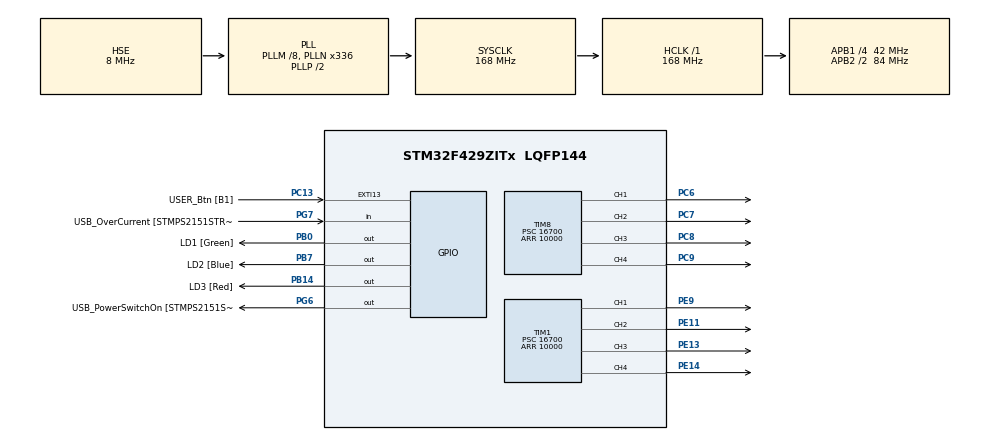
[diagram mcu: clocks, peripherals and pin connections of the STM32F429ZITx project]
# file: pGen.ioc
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Dma.Request0=TIM1_UP
Dma.Request1=TIM8_UP
Dma.TIM1_UP.0.Direction=DMA_MEMORY_TO_PERIPH
Dma.TIM1_UP.0.FIFOMode=DMA_FIFOMODE_ENABLE
Dma.TIM1_UP.0.FIFOThreshold=DMA_FIFO_THRESHOLD_FULL
Dma.TIM1_UP.0.Instance=DMA2_Stream5
Dma.TIM1_UP.0.MemBurst=DMA_MBURST_SINGLE
Dma.TIM1_UP.0.MemDataAlignment=DMA_MDATAALIGN_HALFWORD
Dma.TIM1_UP.0.MemInc=DMA_MINC_ENABLE
Dma.TIM1_UP.0.Mode=DMA_CIRCULAR
Dma.TIM1_UP.0.PeriphBurst=DMA_PBURST_SINGLE
Dma.TIM1_UP.0.PeriphDataAlignment=DMA_PDATAALIGN_HALFWORD
Dma.TIM1_UP.0.PeriphInc=DMA_PINC_DISABLE
Dma.TIM1_UP.0.Priority=DMA_PRIORITY_MEDIUM
Dma.TIM8_UP.1.Direction=DMA_MEMORY_TO_PERIPH
Dma.TIM8_UP.1.FIFOMode=DMA_FIFOMODE_ENABLE
Dma.TIM8_UP.1.FIFOThreshold=DMA_FIFO_THRESHOLD_FULL
Dma.TIM8_UP.1.Instance=DMA2_Stream1
Dma.TIM8_UP.1.MemBurst=DMA_MBURST_SINGLE
Dma.TIM8_UP.1.MemDataAlignment=DMA_MDATAALIGN_HALFWORD
Dma.TIM8_UP.1.MemInc=DMA_MINC_ENABLE
Dma.TIM8_UP.1.Mode=DMA_CIRCULAR
Dma.TIM8_UP.1.PeriphBurst=DMA_PBURST_SINGLE
Dma.TIM8_UP.1.PeriphDataAlignment=DMA_PDATAALIGN_HALFWORD
Dma.TIM8_UP.1.PeriphInc=DMA_PINC_DISABLE
Dma.TIM8_UP.1.Priority=DMA_PRIORITY_LOW
Mcu.Family=STM32F4
Mcu.Name=STM32F429ZITx
Mcu.Package=LQFP144
NVIC.DMA2_Stream1_IRQn=true\:0\:0\:false\:false\:true\:false\:true
NVIC.DMA2_Stream5_IRQn=true\:0\:0\:false\:false\:true\:false\:true
NVIC.PriorityGroup=NVIC_PRIORITYGROUP_4
PA1.GPIO_Label=RMII_REF_CLK [LAN8742A-CZ-TR_REFCLK0]
PA1.Signal=ETH_REF_CLK
PA10.GPIO_Label=USB_ID
PA10.Signal=USB_OTG_FS_ID
PA11.GPIO_Label=USB_DM
PA11.Signal=USB_OTG_FS_DM
PA12.GPIO_Label=USB_DP
PA12.Signal=USB_OTG_FS_DP
PA13.GPIO_Label=TMS
PA13.Mode=Serial_Wire
PA13.Signal=SYS_JTMS-SWDIO
PA14.GPIO_Label=TCK
PA14.Mode=Serial_Wire
PA14.Signal=SYS_JTCK-SWCLK
PA2.GPIO_Label=RMII_MDIO [LAN8742A-CZ-TR_MDIO]
PA2.Signal=ETH_MDIO
PA7.GPIO_Label=RMII_CRS_DV [LAN8742A-CZ-TR_CRS_DV]
PA7.Signal=ETH_CRS_DV
PA8.GPIO_Label=USB_SOF [TP1]
PA8.Signal=USB_OTG_FS_SOF
PA9.GPIO_Label=USB_VBUS
PA9.Signal=USB_OTG_FS_VBUS
PB0.GPIO_Label=LD1 [Green]
PB0.Signal=GPIO_Output
PB13.GPIO_Label=RMII_TXD1 [LAN8742A-CZ-TR_TXD1]
PB13.Signal=ETH_TXD1
PB14.GPIO_Label=LD3 [Red]
PB14.Signal=GPIO_Output
PB7.GPIO_Label=LD2 [Blue]
PB7.Signal=GPIO_Output
PC1.GPIO_Label=RMII_MDC [LAN8742A-CZ-TR_MDC]
PC1.Signal=ETH_MDC
PC13.GPIO_Label=USER_Btn [B1]
PC13.Signal=GPXTI13
PC14/OSC32_IN.Signal=RCC_OSC32_IN
PC15/OSC32_OUT.Signal=RCC_OSC32_OUT
PC4.GPIO_Label=RMII_RXD0 [LAN8742A-CZ-TR_RXD0]
PC4.Signal=ETH_RXD0
PC5.GPIO_Label=RMII_RXD1 [LAN8742A-CZ-TR_RXD1]
PC5.Signal=ETH_RXD1
PC6.GPIO_ModeDefaultPP=GPIO_MODE_AF_OD
PC6.GPIO_PuPd=GPIO_PULLUP
PC6.GPIO_Speed=GPIO_SPEED_FREQ_VERY_HIGH
PC6.Signal=S_TIM8_CH1
PC7.GPIO_ModeDefaultPP=GPIO_MODE_AF_OD
PC7.GPIO_PuPd=GPIO_PULLUP
PC7.GPIO_Speed=GPIO_SPEED_FREQ_VERY_HIGH
PC7.Signal=S_TIM8_CH2
PC8.GPIO_ModeDefaultPP=GPIO_MODE_AF_OD
PC8.GPIO_PuPd=GPIO_PULLUP
PC8.GPIO_Speed=GPIO_SPEED_FREQ_VERY_HIGH
PC8.Signal=S_TIM8_CH3
PC9.GPIO_ModeDefaultPP=GPIO_MODE_AF_OD
PC9.GPIO_PuPd=GPIO_PULLUP
PC9.GPIO_Speed=GPIO_SPEED_FREQ_VERY_HIGH
PC9.Signal=S_TIM8_CH4
PD8.GPIO_Label=STLK_RX [STM32F103CBT6_PA3]
PD8.Signal=USART3_TX
PD9.GPIO_Label=STLK_TX [STM32F103CBT6_PA2]
PD9.Signal=USART3_RX
PE11.GPIO_ModeDefaultPP=GPIO_MODE_AF_OD
PE11.GPIO_PuPd=GPIO_PULLUP
PE11.GPIO_Speed=GPIO_SPEED_FREQ_VERY_HIGH
PE11.Signal=S_TIM1_CH2
PE13.GPIO_ModeDefaultPP=GPIO_MODE_AF_OD
PE13.GPIO_PuPd=GPIO_PULLUP
PE13.GPIO_Speed=GPIO_SPEED_FREQ_VERY_HIGH
PE13.Signal=S_TIM1_CH3
PE14.GPIO_ModeDefaultPP=GPIO_MODE_AF_OD
PE14.GPIO_PuPd=GPIO_PULLUP
PE14.GPIO_Speed=GPIO_SPEED_FREQ_VERY_HIGH
PE14.Signal=S_TIM1_CH4
PE9.GPIO_ModeDefaultPP=GPIO_MODE_AF_OD
PE9.GPIO_PuPd=GPIO_PULLUP
PE9.GPIO_Speed=GPIO_SPEED_FREQ_VERY_HIGH
PE9.Signal=S_TIM1_CH1
PG11.GPIO_Label=RMII_TX_EN [LAN8742A-CZ-TR_TXEN]
PG11.Signal=ETH_TX_EN
PG13.GPIO_Label=RMII_TXD0 [LAN8742A-CZ-TR_TXD0]
PG13.Signal=ETH_TXD0
PG6.GPIO_Label=USB_PowerSwitchOn [STMPS2151STR_EN]
PG6.Signal=GPIO_Output
PG7.GPIO_Label=USB_OverCurrent [STMPS2151STR_FAULT]
PG7.Signal=GPIO_Input
PH0/OSC_IN.GPIO_Label=MCO [STM32F103CBT6_PA8]
PH0/OSC_IN.Mode=HSE-External-Oscillator
PH0/OSC_IN.Signal=RCC_OSC_IN
PH1/OSC_OUT.Mode=HSE-External-Oscillator
PH1/OSC_OUT.Signal=RCC_OSC_OUT
ProjectManager.HeapSize=0x2000
ProjectManager.StackSize=0x4000
ProjectManager.TargetToolchain=MDK-ARM V5.27
RCC.48MHZClocksFreq_Value=48000000
RCC.AHBFreq_Value=168000000
RCC.APB1CLKDivider=RCC_HCLK_DIV4
RCC.APB1Freq_Value=42000000
RCC.APB1TimFreq_Value=84000000
RCC.APB2CLKDivider=RCC_HCLK_DIV2
RCC.APB2Freq_Value=84000000
RCC.APB2TimFreq_Value=168000000
RCC.CortexFreq_Value=168000000
RCC.HCLKFreq_Value=168000000
RCC.HSE_VALUE=8000000
RCC.HSI_VALUE=16000000
RCC.LSE_VALUE=32768
RCC.PLLM=8
RCC.PLLMUL=RCC_PLL_MUL9
RCC.PLLN=336
RCC.PLLQ=7
RCC.PLLSourceVirtual=RCC_PLLSOURCE_HSE
RCC.PRESCALERUSB=RCC_USBCLKSOURCE_PLL_DIV1_5
RCC.SYSCLKFreq_VALUE=168000000
RCC.SYSCLKSource=RCC_SYSCLKSOURCE_PLLCLK
RCC.SYSCLKSourceVirtual=RCC_SYSCLKSOURCE_PLLCLK
RCC.USBFreq_Value=48000000
RCC.VCOOutputFreq_Value=336000000
SH.S_TIM1_CH1.0=TIM1_CH1,PWM Generation1 CH1
SH.S_TIM1_CH2.0=TIM1_CH2,PWM Generation2 CH2
SH.S_TIM1_CH3.0=TIM1_CH3,PWM Generation3 CH3
SH.S_TIM1_CH4.0=TIM1_CH4,PWM Generation4 CH4
SH.S_TIM8_CH1.0=TIM8_CH1,PWM Generation1 CH1
SH.S_TIM8_CH2.0=TIM8_CH2,PWM Generation2 CH2
SH.S_TIM8_CH3.0=TIM8_CH3,PWM Generation3 CH3
SH.S_TIM8_CH4.0=TIM8_CH4,PWM Generation4 CH4
TIM1.Channel-PWM\ Generation1\ CH1=TIM_CHANNEL_1
TIM1.Channel-PWM\ Generation2\ CH2=TIM_CHANNEL_2
TIM1.Channel-PWM\ Generation3\ CH3=TIM_CHANNEL_3
TIM1.Channel-PWM\ Generation4\ CH4=TIM_CHANNEL_4
TIM1.OCIdleState_1=TIM_OCIDLESTATE_SET
TIM1.OCPolarity_1=TIM_OCPOLARITY_HIGH
TIM1.OCPolarity_2=TIM_OCPOLARITY_HIGH
TIM1.OCPolarity_3=TIM_OCPOLARITY_HIGH
TIM1.OCPolarity_4=TIM_OCPOLARITY_HIGH
TIM1.Period=10000
TIM1.Prescaler=16700
TIM1.Pulse-PWM\ Generation1\ CH1=1
TIM1.Pulse-PWM\ Generation2\ CH2=1
TIM1.Pulse-PWM\ Generation3\ CH3=1
TIM1.Pulse-PWM\ Generation4\ CH4=1
TIM1.TIM_MasterOutputTrigger=TIM_TRGO_ENABLE
TIM1.TIM_MasterSlaveMode=TIM_MASTERSLAVEMODE_ENABLE
TIM8.Channel-PWM\ Generation1\ CH1=TIM_CHANNEL_1
TIM8.Channel-PWM\ Generation2\ CH2=TIM_CHANNEL_2
TIM8.Channel-PWM\ Generation3\ CH3=TIM_CHANNEL_3
TIM8.Channel-PWM\ Generation4\ CH4=TIM_CHANNEL_4
TIM8.OCPolarity_1=TIM_OCPOLARITY_HIGH
TIM8.OCPolarity_2=TIM_OCPOLARITY_HIGH
TIM8.OCPolarity_3=TIM_OCPOLARITY_HIGH
TIM8.OCPolarity_4=TIM_OCPOLARITY_HIGH
TIM8.Period=10000
TIM8.Prescaler=16700
TIM8.Pulse-PWM\ Generation1\ CH1=1
TIM8.Pulse-PWM\ Generation2\ CH2=1
TIM8.Pulse-PWM\ Generation3\ CH3=1
TIM8.Pulse-PWM\ Generation4\ CH4=1
VP_TIM1_VS_OPM.Mode=OPM_bit
VP_TIM8_VS_ClockSourceITR.Mode=TriggerSource_ITR0
VP_TIM8_VS_ControllerModeTrigger.Mode=Trigger Mode
VP_TIM8_VS_OPM.Mode=OPM_bit
board=NUCLEO-F429ZI

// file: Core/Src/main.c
/* USER CODE BEGIN Header */
/**
  ******************************************************************************
  * @file           : main.c
  * @brief          : Main program body
  ******************************************************************************
  * @attention
  *
  * <h2><center>&copy; Copyright (c) 2021 STMicroelectronics.
  * All rights reserved.</center></h2>
  *
  * This software component is licensed by ST under BSD 3-Clause license,
  * the "License"; You may not use this file except in compliance with the
  * License. You may obtain a copy of the License at:
  *                        opensource.org/licenses/BSD-3-Clause
  *
  ******************************************************************************
  */
/* USER CODE END Header */
#include "main.h"

/* USER CODE BEGIN Includes */
#include "proc.h"
#include "console.h"
/* USER CODE END Includes */

TIM_HandleTypeDef htim1;
TIM_HandleTypeDef htim8;
DMA_HandleTypeDef hdma_tim1_up;
DMA_HandleTypeDef hdma_tim8_up;

void SystemClock_Config(void);
static void MX_GPIO_Init(void);
static void MX_DMA_Init(void);
static void MX_TIM1_Init(void);
static void MX_TIM8_Init(void);
/* USER CODE BEGIN PFP */
void	HAL_USBD_Setup(void);
void	UsbDevice_Init(void);
void	UsbDevice_DeInit(void);

/* USER CODE END PFP */

/* USER CODE BEGIN 0 */
uint16_t tim1buf[]={2000,6000,4000,2000};
uint16_t tim8buf[]={8000,6000,4000,2000};
/* USER CODE END 0 */

int main(void)
{

  /* MCU Configuration--------------------------------------------------------*/

  /* Reset of all peripherals, Initializes the Flash interface and the Systick. */
  HAL_Init();

  /* Configure the system clock */
  SystemClock_Config();

  /* Initialize all configured peripherals */
  MX_GPIO_Init();
  MX_DMA_Init();
  MX_TIM1_Init();
  MX_TIM8_Init();
  /* USER CODE BEGIN 2 */
  HAL_USBD_Setup();
  UsbDevice_Init();

	InitITM();
	_stdio(&_ITM);
	printVersion();
	_stdio(NULL);

	_proc_add(console,&_VCP,"console",0);

	HAL_TIM_PWM_Start(&htim8,TIM_CHANNEL_1);
	HAL_TIM_PWM_Start(&htim8,TIM_CHANNEL_2);
	HAL_TIM_PWM_Start(&htim8,TIM_CHANNEL_3);
	HAL_TIM_PWM_Start(&htim8,TIM_CHANNEL_4);
	HAL_TIM_PWM_Start(&htim1,TIM_CHANNEL_1);
	HAL_TIM_PWM_Start(&htim1,TIM_CHANNEL_2);
	HAL_TIM_PWM_Start(&htim1,TIM_CHANNEL_3);
	HAL_TIM_PWM_Start(&htim1,TIM_CHANNEL_4);
	HAL_TIM_DMABurst_WriteStart(&htim1,TIM_DMABASE_CCR1,TIM_DMA_UPDATE,(uint32_t *)tim1buf,TIM_DMABURSTLENGTH_4TRANSFERS);
	HAL_TIM_DMABurst_WriteStart(&htim8,TIM_DMABASE_CCR1,TIM_DMA_UPDATE,(uint32_t *)tim8buf,TIM_DMABURSTLENGTH_4TRANSFERS);

  /* USER CODE END 2 */

  /* Infinite loop */
  while (1)
  {

    /* USER CODE BEGIN 3 */
		_proc_loop();

		HAL_GPIO_WritePin(LD1_GPIO_Port,LD1_Pin,HAL_GPIO_ReadPin(GPIOE,GPIO_PIN_9));
		HAL_GPIO_WritePin(LD2_GPIO_Port,LD2_Pin,HAL_GPIO_ReadPin(GPIOE,GPIO_PIN_11));
		HAL_GPIO_WritePin(LD3_GPIO_Port,LD3_Pin,HAL_GPIO_ReadPin(GPIOC,GPIO_PIN_6));

  }
  /* USER CODE END 3 */
}

void SystemClock_Config(void)
{
  RCC_OscInitTypeDef RCC_OscInitStruct = {0};
  RCC_ClkInitTypeDef RCC_ClkInitStruct = {0};

  /** Configure the main internal regulator output voltage
  */
  __HAL_RCC_PWR_CLK_ENABLE();
  __HAL_PWR_VOLTAGESCALING_CONFIG(PWR_REGULATOR_VOLTAGE_SCALE1);
  /** Initializes the RCC Oscillators according to the specified parameters
  * in the RCC_OscInitTypeDef structure.
  */
  RCC_OscInitStruct.OscillatorType = RCC_OSCILLATORTYPE_HSE;
  RCC_OscInitStruct.HSEState = RCC_HSE_ON;
  RCC_OscInitStruct.PLL.PLLState = RCC_PLL_ON;
  RCC_OscInitStruct.PLL.PLLSource = RCC_PLLSOURCE_HSE;
  RCC_OscInitStruct.PLL.PLLM = 8;
  RCC_OscInitStruct.PLL.PLLN = 336;
  RCC_OscInitStruct.PLL.PLLP = RCC_PLLP_DIV2;
  RCC_OscInitStruct.PLL.PLLQ = 7;
  if (HAL_RCC_OscConfig(&RCC_OscInitStruct) != HAL_OK)
  {
    Error_Handler();
  }
  /** Initializes the CPU, AHB and APB buses clocks
  */
  RCC_ClkInitStruct.ClockType = RCC_CLOCKTYPE_HCLK|RCC_CLOCKTYPE_SYSCLK
                              |RCC_CLOCKTYPE_PCLK1|RCC_CLOCKTYPE_PCLK2;
  RCC_ClkInitStruct.SYSCLKSource = RCC_SYSCLKSOURCE_PLLCLK;
  RCC_ClkInitStruct.AHBCLKDivider = RCC_SYSCLK_DIV1;
  RCC_ClkInitStruct.APB1CLKDivider = RCC_HCLK_DIV4;
  RCC_ClkInitStruct.APB2CLKDivider = RCC_HCLK_DIV2;

  if (HAL_RCC_ClockConfig(&RCC_ClkInitStruct, FLASH_LATENCY_5) != HAL_OK)
  {
    Error_Handler();
  }
}

static void MX_TIM1_Init(void)
{

  TIM_MasterConfigTypeDef sMasterConfig = {0};
  TIM_OC_InitTypeDef sConfigOC = {0};
  TIM_BreakDeadTimeConfigTypeDef sBreakDeadTimeConfig = {0};

  htim1.Instance = TIM1;
  htim1.Init.Prescaler = 16700;
  htim1.Init.CounterMode = TIM_COUNTERMODE_UP;
  htim1.Init.Period = 10000;
  htim1.Init.ClockDivision = TIM_CLOCKDIVISION_DIV1;
  htim1.Init.RepetitionCounter = 0;
  htim1.Init.AutoReloadPreload = TIM_AUTORELOAD_PRELOAD_DISABLE;
  if (HAL_TIM_PWM_Init(&htim1) != HAL_OK)
  {
    Error_Handler();
  }
  if (HAL_TIM_OnePulse_Init(&htim1, TIM_OPMODE_SINGLE) != HAL_OK)
  {
    Error_Handler();
  }
  sMasterConfig.MasterOutputTrigger = TIM_TRGO_ENABLE;
  sMasterConfig.MasterSlaveMode = TIM_MASTERSLAVEMODE_ENABLE;
  if (HAL_TIMEx_MasterConfigSynchronization(&htim1, &sMasterConfig) != HAL_OK)
  {
    Error_Handler();
  }
  sConfigOC.OCMode = TIM_OCMODE_PWM1;
  sConfigOC.Pulse = 1;
  sConfigOC.OCPolarity = TIM_OCPOLARITY_HIGH;
  sConfigOC.OCNPolarity = TIM_OCNPOLARITY_HIGH;
  sConfigOC.OCFastMode = TIM_OCFAST_DISABLE;
  sConfigOC.OCIdleState = TIM_OCIDLESTATE_SET;
  sConfigOC.OCNIdleState = TIM_OCNIDLESTATE_RESET;
  if (HAL_TIM_PWM_ConfigChannel(&htim1, &sConfigOC, TIM_CHANNEL_1) != HAL_OK)
  {
    Error_Handler();
  }
  sConfigOC.OCIdleState = TIM_OCIDLESTATE_RESET;
  if (HAL_TIM_PWM_ConfigChannel(&htim1, &sConfigOC, TIM_CHANNEL_2) != HAL_OK)
  {
    Error_Handler();
  }
  if (HAL_TIM_PWM_ConfigChannel(&htim1, &sConfigOC, TIM_CHANNEL_3) != HAL_OK)
  {
    Error_Handler();
  }
  if (HAL_TIM_PWM_ConfigChannel(&htim1, &sConfigOC, TIM_CHANNEL_4) != HAL_OK)
  {
    Error_Handler();
  }
  sBreakDeadTimeConfig.OffStateRunMode = TIM_OSSR_DISABLE;
  sBreakDeadTimeConfig.OffStateIDLEMode = TIM_OSSI_DISABLE;
  sBreakDeadTimeConfig.LockLevel = TIM_LOCKLEVEL_OFF;
  sBreakDeadTimeConfig.DeadTime = 0;
  sBreakDeadTimeConfig.BreakState = TIM_BREAK_DISABLE;
  sBreakDeadTimeConfig.BreakPolarity = TIM_BREAKPOLARITY_HIGH;
  sBreakDeadTimeConfig.AutomaticOutput = TIM_AUTOMATICOUTPUT_DISABLE;
  if (HAL_TIMEx_ConfigBreakDeadTime(&htim1, &sBreakDeadTimeConfig) != HAL_OK)
  {
    Error_Handler();
  }
  HAL_TIM_MspPostInit(&htim1);

}

static void MX_TIM8_Init(void)
{

  TIM_SlaveConfigTypeDef sSlaveConfig = {0};
  TIM_MasterConfigTypeDef sMasterConfig = {0};
  TIM_OC_InitTypeDef sConfigOC = {0};
  TIM_BreakDeadTimeConfigTypeDef sBreakDeadTimeConfig = {0};

  htim8.Instance = TIM8;
  htim8.Init.Prescaler = 16700;
  htim8.Init.CounterMode = TIM_COUNTERMODE_UP;
  htim8.Init.Period = 10000;
  htim8.Init.ClockDivision = TIM_CLOCKDIVISION_DIV1;
  htim8.Init.RepetitionCounter = 0;
  htim8.Init.AutoReloadPreload = TIM_AUTORELOAD_PRELOAD_DISABLE;
  if (HAL_TIM_Base_Init(&htim8) != HAL_OK)
  {
    Error_Handler();
  }
  if (HAL_TIM_PWM_Init(&htim8) != HAL_OK)
  {
    Error_Handler();
  }
  if (HAL_TIM_OnePulse_Init(&htim8, TIM_OPMODE_SINGLE) != HAL_OK)
  {
    Error_Handler();
  }
  sSlaveConfig.SlaveMode = TIM_SLAVEMODE_TRIGGER;
  sSlaveConfig.InputTrigger = TIM_TS_ITR0;
  if (HAL_TIM_SlaveConfigSynchro(&htim8, &sSlaveConfig) != HAL_OK)
  {
    Error_Handler();
  }
  sMasterConfig.MasterOutputTrigger = TIM_TRGO_RESET;
  sMasterConfig.MasterSlaveMode = TIM_MASTERSLAVEMODE_DISABLE;
  if (HAL_TIMEx_MasterConfigSynchronization(&htim8, &sMasterConfig) != HAL_OK)
  {
    Error_Handler();
  }
  sConfigOC.OCMode = TIM_OCMODE_PWM1;
  sConfigOC.Pulse = 1;
  sConfigOC.OCPolarity = TIM_OCPOLARITY_HIGH;
  sConfigOC.OCNPolarity = TIM_OCNPOLARITY_HIGH;
  sConfigOC.OCFastMode = TIM_OCFAST_DISABLE;
  sConfigOC.OCIdleState = TIM_OCIDLESTATE_RESET;
  sConfigOC.OCNIdleState = TIM_OCNIDLESTATE_RESET;
  if (HAL_TIM_PWM_ConfigChannel(&htim8, &sConfigOC, TIM_CHANNEL_1) != HAL_OK)
  {
    Error_Handler();
  }
  if (HAL_TIM_PWM_ConfigChannel(&htim8, &sConfigOC, TIM_CHANNEL_2) != HAL_OK)
  {
    Error_Handler();
  }
  if (HAL_TIM_PWM_ConfigChannel(&htim8, &sConfigOC, TIM_CHANNEL_3) != HAL_OK)
  {
    Error_Handler();
  }
  if (HAL_TIM_PWM_ConfigChannel(&htim8, &sConfigOC, TIM_CHANNEL_4) != HAL_OK)
  {
    Error_Handler();
  }
  sBreakDeadTimeConfig.OffStateRunMode = TIM_OSSR_DISABLE;
  sBreakDeadTimeConfig.OffStateIDLEMode = TIM_OSSI_DISABLE;
  sBreakDeadTimeConfig.LockLevel = TIM_LOCKLEVEL_OFF;
  sBreakDeadTimeConfig.DeadTime = 0;
  sBreakDeadTimeConfig.BreakState = TIM_BREAK_DISABLE;
  sBreakDeadTimeConfig.BreakPolarity = TIM_BREAKPOLARITY_HIGH;
  sBreakDeadTimeConfig.AutomaticOutput = TIM_AUTOMATICOUTPUT_DISABLE;
  if (HAL_TIMEx_ConfigBreakDeadTime(&htim8, &sBreakDeadTimeConfig) != HAL_OK)
  {
    Error_Handler();
  }
  HAL_TIM_MspPostInit(&htim8);

}

static void MX_DMA_Init(void)
{

  /* DMA controller clock enable */
  __HAL_RCC_DMA2_CLK_ENABLE();

  /* DMA interrupt init */
  /* DMA2_Stream1_IRQn interrupt configuration */
  HAL_NVIC_SetPriority(DMA2_Stream1_IRQn, 0, 0);
  HAL_NVIC_EnableIRQ(DMA2_Stream1_IRQn);
  /* DMA2_Stream5_IRQn interrupt configuration */
  HAL_NVIC_SetPriority(DMA2_Stream5_IRQn, 0, 0);
  HAL_NVIC_EnableIRQ(DMA2_Stream5_IRQn);

}

static void MX_GPIO_Init(void)
{
  GPIO_InitTypeDef GPIO_InitStruct = {0};

  /* GPIO Ports Clock Enable */
  __HAL_RCC_GPIOC_CLK_ENABLE();
  __HAL_RCC_GPIOH_CLK_ENABLE();
  __HAL_RCC_GPIOA_CLK_ENABLE();
  __HAL_RCC_GPIOB_CLK_ENABLE();
  __HAL_RCC_GPIOE_CLK_ENABLE();
  __HAL_RCC_GPIOD_CLK_ENABLE();
  __HAL_RCC_GPIOG_CLK_ENABLE();

  /*Configure GPIO pin Output Level */
  HAL_GPIO_WritePin(GPIOB, LD1_Pin|LD3_Pin|LD2_Pin, GPIO_PIN_RESET);

  /*Configure GPIO pin Output Level */
  HAL_GPIO_WritePin(USB_PowerSwitchOn_GPIO_Port, USB_PowerSwitchOn_Pin, GPIO_PIN_RESET);

  /*Configure GPIO pin : USER_Btn_Pin */
  GPIO_InitStruct.Pin = USER_Btn_Pin;
  GPIO_InitStruct.Mode = GPIO_MODE_IT_RISING;
  GPIO_InitStruct.Pull = GPIO_NOPULL;
  HAL_GPIO_Init(USER_Btn_GPIO_Port, &GPIO_InitStruct);

  /*Configure GPIO pins : RMII_MDC_Pin RMII_RXD0_Pin RMII_RXD1_Pin */
  GPIO_InitStruct.Pin = RMII_MDC_Pin|RMII_RXD0_Pin|RMII_RXD1_Pin;
  GPIO_InitStruct.Mode = GPIO_MODE_AF_PP;
  GPIO_InitStruct.Pull = GPIO_NOPULL;
  GPIO_InitStruct.Speed = GPIO_SPEED_FREQ_VERY_HIGH;
  GPIO_InitStruct.Alternate = GPIO_AF11_ETH;
  HAL_GPIO_Init(GPIOC, &GPIO_InitStruct);

  /*Configure GPIO pins : RMII_REF_CLK_Pin RMII_MDIO_Pin RMII_CRS_DV_Pin */
  GPIO_InitStruct.Pin = RMII_REF_CLK_Pin|RMII_MDIO_Pin|RMII_CRS_DV_Pin;
  GPIO_InitStruct.Mode = GPIO_MODE_AF_PP;
  GPIO_InitStruct.Pull = GPIO_NOPULL;
  GPIO_InitStruct.Speed = GPIO_SPEED_FREQ_VERY_HIGH;
  GPIO_InitStruct.Alternate = GPIO_AF11_ETH;
  HAL_GPIO_Init(GPIOA, &GPIO_InitStruct);

  /*Configure GPIO pins : LD1_Pin LD3_Pin LD2_Pin */
  GPIO_InitStruct.Pin = LD1_Pin|LD3_Pin|LD2_Pin;
  GPIO_InitStruct.Mode = GPIO_MODE_OUTPUT_PP;
  GPIO_InitStruct.Pull = GPIO_NOPULL;
  GPIO_InitStruct.Speed = GPIO_SPEED_FREQ_LOW;
  HAL_GPIO_Init(GPIOB, &GPIO_InitStruct);

  /*Configure GPIO pin : RMII_TXD1_Pin */
  GPIO_InitStruct.Pin = RMII_TXD1_Pin;
  GPIO_InitStruct.Mode = GPIO_MODE_AF_PP;
  GPIO_InitStruct.Pull = GPIO_NOPULL;
  GPIO_InitStruct.Speed = GPIO_SPEED_FREQ_VERY_HIGH;
  GPIO_InitStruct.Alternate = GPIO_AF11_ETH;
  HAL_GPIO_Init(RMII_TXD1_GPIO_Port, &GPIO_InitStruct);

  /*Configure GPIO pins : STLK_RX_Pin STLK_TX_Pin */
  GPIO_InitStruct.Pin = STLK_RX_Pin|STLK_TX_Pin;
  GPIO_InitStruct.Mode = GPIO_MODE_AF_PP;
  GPIO_InitStruct.Pull = GPIO_NOPULL;
  GPIO_InitStruct.Speed = GPIO_SPEED_FREQ_VERY_HIGH;
  GPIO_InitStruct.Alternate = GPIO_AF7_USART3;
  HAL_GPIO_Init(GPIOD, &GPIO_InitStruct);

  /*Configure GPIO pin : USB_PowerSwitchOn_Pin */
  GPIO_InitStruct.Pin = USB_PowerSwitchOn_Pin;
  GPIO_InitStruct.Mode = GPIO_MODE_OUTPUT_PP;
  GPIO_InitStruct.Pull = GPIO_NOPULL;
  GPIO_InitStruct.Speed = GPIO_SPEED_FREQ_LOW;
  HAL_GPIO_Init(USB_PowerSwitchOn_GPIO_Port, &GPIO_InitStruct);

  /*Configure GPIO pin : USB_OverCurrent_Pin */
  GPIO_InitStruct.Pin = USB_OverCurrent_Pin;
  GPIO_InitStruct.Mode = GPIO_MODE_INPUT;
  GPIO_InitStruct.Pull = GPIO_NOPULL;
  HAL_GPIO_Init(USB_OverCurrent_GPIO_Port, &GPIO_InitStruct);

  /*Configure GPIO pins : USB_SOF_Pin USB_ID_Pin USB_DM_Pin USB_DP_Pin */
  GPIO_InitStruct.Pin = USB_SOF_Pin|USB_ID_Pin|USB_DM_Pin|USB_DP_Pin;
  GPIO_InitStruct.Mode = GPIO_MODE_AF_PP;
  GPIO_InitStruct.Pull = GPIO_NOPULL;
  GPIO_InitStruct.Speed = GPIO_SPEED_FREQ_VERY_HIGH;
  GPIO_InitStruct.Alternate = GPIO_AF10_OTG_FS;
  HAL_GPIO_Init(GPIOA, &GPIO_InitStruct);

  /*Configure GPIO pin : USB_VBUS_Pin */
  GPIO_InitStruct.Pin = USB_VBUS_Pin;
  GPIO_InitStruct.Mode = GPIO_MODE_INPUT;
  GPIO_InitStruct.Pull = GPIO_NOPULL;
  HAL_GPIO_Init(USB_VBUS_GPIO_Port, &GPIO_InitStruct);

  /*Configure GPIO pins : RMII_TX_EN_Pin RMII_TXD0_Pin */
  GPIO_InitStruct.Pin = RMII_TX_EN_Pin|RMII_TXD0_Pin;
  GPIO_InitStruct.Mode = GPIO_MODE_AF_PP;
  GPIO_InitStruct.Pull = GPIO_NOPULL;
  GPIO_InitStruct.Speed = GPIO_SPEED_FREQ_VERY_HIGH;
  GPIO_InitStruct.Alternate = GPIO_AF11_ETH;
  HAL_GPIO_Init(GPIOG, &GPIO_InitStruct);

}

/* USER CODE BEGIN 4 */
void OTG_FS_IRQHandler(void)
{
	extern void *UsbDevice;
	extern void	USB_vDevIRQHandler(void *);

	void   HAL_PCD_IRQHandler(void *);
	USB_vDevIRQHandler(UsbDevice);
}

/* USER CODE END 4 */

void Error_Handler(void)
{
  __disable_irq();
  while (1)
  {
  }
}

/************************ (C) COPYRIGHT STMicroelectronics *****END OF FILE****/
